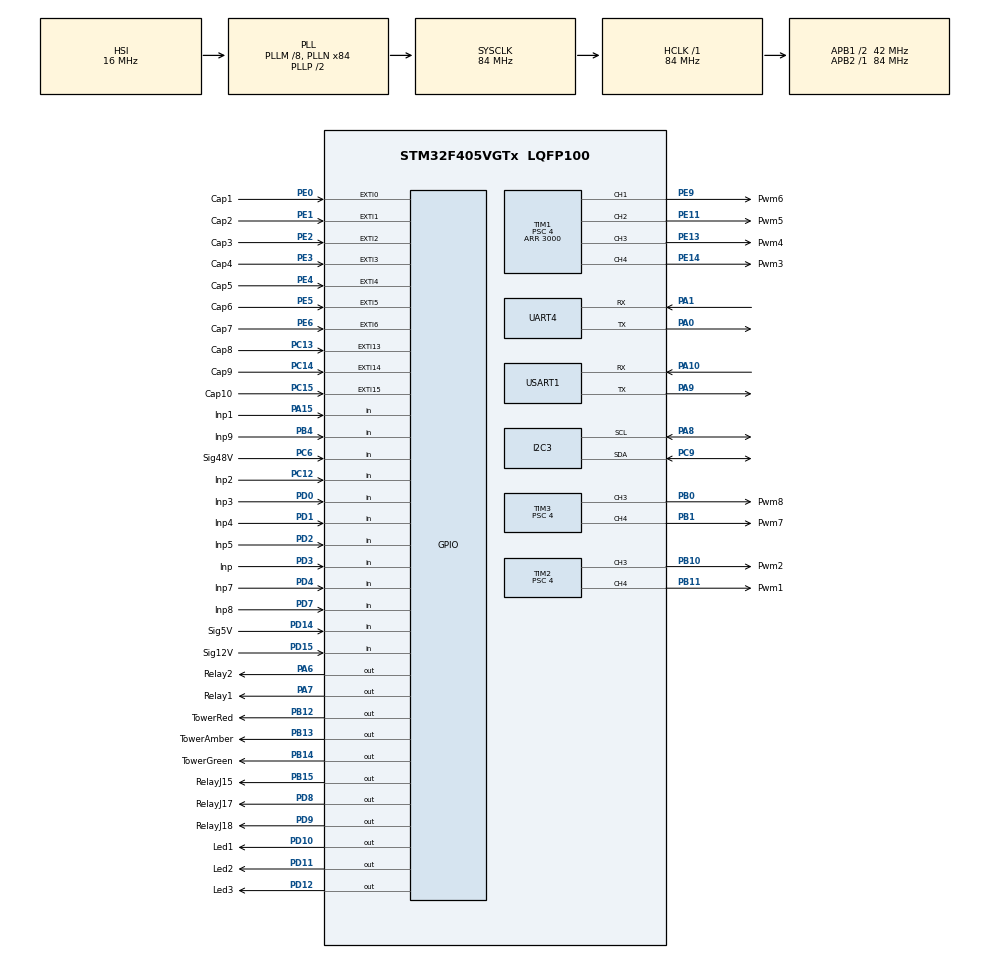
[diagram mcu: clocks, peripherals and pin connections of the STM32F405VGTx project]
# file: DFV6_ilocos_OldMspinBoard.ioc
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Mcu.Family=STM32F4
Mcu.Name=STM32F405VGTx
Mcu.Package=LQFP100
NVIC.EXTI0_IRQn=true\:0\:0\:false\:false\:true\:true\:true\:true
NVIC.EXTI15_10_IRQn=true\:0\:0\:false\:false\:true\:true\:true\:true
NVIC.EXTI1_IRQn=true\:0\:0\:false\:false\:true\:true\:true\:true
NVIC.EXTI2_IRQn=true\:0\:0\:false\:false\:true\:true\:true\:true
NVIC.EXTI3_IRQn=true\:0\:0\:false\:false\:true\:true\:true\:true
NVIC.EXTI4_IRQn=true\:0\:0\:false\:false\:true\:true\:true\:true
NVIC.EXTI9_5_IRQn=true\:0\:0\:false\:false\:true\:true\:true\:true
NVIC.PriorityGroup=NVIC_PRIORITYGROUP_4
NVIC.TIM1_BRK_TIM9_IRQn=true\:0\:0\:false\:false\:true\:true\:true\:true
NVIC.TIM6_DAC_IRQn=true\:0\:0\:false\:false\:true\:true\:true\:true
NVIC.TIM7_IRQn=true\:0\:0\:false\:false\:true\:true\:true\:true
NVIC.UART4_IRQn=true\:0\:0\:false\:false\:true\:true\:true\:true
NVIC.USART1_IRQn=true\:0\:0\:false\:false\:true\:true\:true\:true
PA0-WKUP.Mode=Asynchronous
PA0-WKUP.Signal=UART4_TX
PA1.Mode=Asynchronous
PA1.Signal=UART4_RX
PA10.Mode=Asynchronous
PA10.Signal=USART1_RX
PA15.GPIO_Label=Inp1
PA15.Signal=GPIO_Input
PA6.GPIO_Label=Relay2
PA6.Signal=GPIO_Output
PA7.GPIO_Label=Relay1
PA7.Signal=GPIO_Output
PA8.GPIO_Pu=GPIO_PULLUP
PA8.Mode=I2C
PA8.Signal=I2C3_SCL
PA9.Mode=Asynchronous
PA9.Signal=USART1_TX
PB0.GPIO_Label=Pwm8
PB0.Signal=S_TIM3_CH3
PB1.GPIO_Label=Pwm7
PB1.Signal=S_TIM3_CH4
PB10.GPIO_Label=Pwm2
PB10.Signal=S_TIM2_CH3
PB11.GPIO_Label=Pwm1
PB11.Signal=S_TIM2_CH4
PB12.GPIO_Label=TowerRed
PB12.Signal=GPIO_Output
PB13.GPIO_Label=TowerAmber
PB13.Signal=GPIO_Output
PB14.GPIO_Label=TowerGreen
PB14.Signal=GPIO_Output
PB15.GPIO_Label=RelayJ15
PB15.Signal=GPIO_Output
PB4.GPIO_Label=Inp9
PB4.Signal=GPIO_Input
PC12.GPIO_Label=Inp2
PC12.Signal=GPIO_Input
PC13-ANTI_TAMP.GPIO_Label=Cap8
PC13-ANTI_TAMP.GPIO_ModeDefaultEXTI=GPIO_MODE_IT_RISING_FALLING
PC13-ANTI_TAMP.GPIO_PuPd=GPIO_PULLUP
PC13-ANTI_TAMP.Signal=GPXTI13
PC14-OSC32_IN.GPIO_Label=Cap9
PC14-OSC32_IN.GPIO_ModeDefaultEXTI=GPIO_MODE_IT_RISING_FALLING
PC14-OSC32_IN.GPIO_PuPd=GPIO_PULLUP
PC14-OSC32_IN.Signal=GPXTI14
PC15-OSC32_OUT.GPIO_Label=Cap10
PC15-OSC32_OUT.GPIO_ModeDefaultEXTI=GPIO_MODE_IT_RISING_FALLING
PC15-OSC32_OUT.GPIO_PuPd=GPIO_PULLUP
PC15-OSC32_OUT.Signal=GPXTI15
PC6.GPIO_Label=Sig48V
PC6.Signal=GPIO_Input
PC9.GPIO_Pu=GPIO_PULLUP
PC9.Mode=I2C
PC9.Signal=I2C3_SDA
PD0.GPIO_Label=Inp3
PD0.Signal=GPIO_Input
PD1.GPIO_Label=Inp4
PD1.Signal=GPIO_Input
PD10.GPIO_Label=Led1
PD10.Signal=GPIO_Output
PD11.GPIO_Label=Led2
PD11.Signal=GPIO_Output
PD12.GPIO_Label=Led3
PD12.Signal=GPIO_Output
PD14.GPIO_Label=Sig5V
PD14.Signal=GPIO_Input
PD15.GPIO_Label=Sig12V
PD15.Signal=GPIO_Input
PD2.GPIO_Label=Inp5
PD2.Signal=GPIO_Input
PD3.GPIO_Label=Inp
PD3.Signal=GPIO_Input
PD4.GPIO_Label=Inp7
PD4.Signal=GPIO_Input
PD7.GPIO_Label=Inp8
PD7.Signal=GPIO_Input
PD8.GPIO_Label=RelayJ17
PD8.Signal=GPIO_Output
PD9.GPIO_Label=RelayJ18
PD9.Signal=GPIO_Output
PE0.GPIO_Label=Cap1
PE0.GPIO_ModeDefaultEXTI=GPIO_MODE_IT_RISING_FALLING
PE0.GPIO_PuPd=GPIO_PULLUP
PE0.Signal=GPXTI0
PE1.GPIO_Label=Cap2
PE1.GPIO_ModeDefaultEXTI=GPIO_MODE_IT_RISING_FALLING
PE1.GPIO_PuPd=GPIO_PULLUP
PE1.Signal=GPXTI1
PE11.GPIO_Label=Pwm5
PE11.Signal=S_TIM1_CH2
PE13.GPIO_Label=Pwm4
PE13.Signal=S_TIM1_CH3
PE14.GPIO_Label=Pwm3
PE14.Signal=S_TIM1_CH4
PE2.GPIO_Label=Cap3
PE2.GPIO_ModeDefaultEXTI=GPIO_MODE_IT_RISING_FALLING
PE2.GPIO_PuPd=GPIO_PULLUP
PE2.Signal=GPXTI2
PE3.GPIO_Label=Cap4
PE3.GPIO_ModeDefaultEXTI=GPIO_MODE_IT_RISING_FALLING
PE3.GPIO_PuPd=GPIO_PULLUP
PE3.Signal=GPXTI3
PE4.GPIO_Label=Cap5
PE4.GPIO_ModeDefaultEXTI=GPIO_MODE_IT_RISING_FALLING
PE4.GPIO_PuPd=GPIO_PULLUP
PE4.Signal=GPXTI4
PE5.GPIO_Label=Cap6
PE5.GPIO_ModeDefaultEXTI=GPIO_MODE_IT_RISING_FALLING
PE5.GPIO_PuPd=GPIO_PULLUP
PE5.Signal=GPXTI5
PE6.GPIO_Label=Cap7
PE6.GPIO_ModeDefaultEXTI=GPIO_MODE_IT_RISING_FALLING
PE6.GPIO_PuPd=GPIO_PULLUP
PE6.Signal=GPXTI6
PE9.GPIO_Label=Pwm6
PE9.Signal=S_TIM1_CH1
ProjectManager.HeapSize=0x200
ProjectManager.StackSize=0x400
ProjectManager.TargetToolchain=STM32CubeIDE
RCC.48MHZClocksFreq_Value=42000000
RCC.AHBFreq_Value=84000000
RCC.APB1CLKDivider=RCC_HCLK_DIV2
RCC.APB1Freq_Value=42000000
RCC.APB1TimFreq_Value=84000000
RCC.APB2Freq_Value=84000000
RCC.APB2TimFreq_Value=84000000
RCC.CortexFreq_Value=84000000
RCC.HCLKFreq_Value=84000000
RCC.HSE_VALUE=25000000
RCC.HSI_VALUE=16000000
RCC.LSE_VALUE=32768
RCC.PLLM=8
RCC.PLLN=84
RCC.SYSCLKFreq_VALUE=84000000
RCC.SYSCLKSource=RCC_SYSCLKSOURCE_PLLCLK
RCC.VCOOutputFreq_Value=168000000
SH.S_TIM1_CH1.0=TIM1_CH1,PWM Generation1 CH1
SH.S_TIM1_CH2.0=TIM1_CH2,PWM Generation2 CH2
SH.S_TIM1_CH3.0=TIM1_CH3,PWM Generation3 CH3
SH.S_TIM1_CH4.0=TIM1_CH4,PWM Generation4 CH4
SH.S_TIM2_CH3.0=TIM2_CH3,PWM Generation3 CH3
SH.S_TIM2_CH4.0=TIM2_CH4,PWM Generation4 CH4
SH.S_TIM3_CH3.0=TIM3_CH3,PWM Generation3 CH3
SH.S_TIM3_CH4.0=TIM3_CH4,PWM Generation4 CH4
TIM1.Channel-PWM\ Generation1\ CH1=TIM_CHANNEL_1
TIM1.Channel-PWM\ Generation2\ CH2=TIM_CHANNEL_2
TIM1.Channel-PWM\ Generation3\ CH3=TIM_CHANNEL_3
TIM1.Channel-PWM\ Generation4\ CH4=TIM_CHANNEL_4
TIM1.OCPolarity_1=TIM_OCPOLARITY_HIGH
TIM1.OCPolarity_2=TIM_OCPOLARITY_HIGH
TIM1.OCPolarity_3=TIM_OCPOLARITY_HIGH
TIM1.OCPolarity_4=TIM_OCPOLARITY_HIGH
TIM1.Period=3000
TIM1.Prescaler=4
TIM2.Channel-PWM\ Generation3\ CH3=TIM_CHANNEL_3
TIM2.Channel-PWM\ Generation4\ CH4=TIM_CHANNEL_4
TIM2.OCPolarity_3=TIM_OCPOLARITY_HIGH
TIM2.OCPolarity_4=TIM_OCPOLARITY_HIGH
TIM2.Period=3000
TIM2.Prescaler=4
TIM3.Channel-PWM\ Generation3\ CH3=TIM_CHANNEL_3
TIM3.Channel-PWM\ Generation4\ CH4=TIM_CHANNEL_4
TIM3.OCPolarity_3=TIM_OCPOLARITY_HIGH
TIM3.OCPolarity_4=TIM_OCPOLARITY_HIGH
TIM3.Period=3000
TIM3.Prescaler=4
TIM6.Period=839
TIM6.Prescaler=9999
TIM7.Period=8399
TIM7.Prescaler=9999
TIM9.Period=499
TIM9.Prescaler=8399
UART4.VirtualMode=Asynchronous
USART1.VirtualMode=VM_ASYNC
VP_TIM6_VS_ClockSourceINT.Mode=Enable_Timer
VP_TIM7_VS_ClockSourceINT.Mode=Enable_Timer
VP_TIM9_VS_ClockSourceINT.Mode=Internal
board=DRAWFRAME1.0

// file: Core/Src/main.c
/* USER CODE BEGIN Header */
/**
  ******************************************************************************
  * @file           : main.c
  * @brief          : Main program body
  ******************************************************************************
  * @attention
  *
  * Copyright (c) 2023 STMicroelectronics.
  * All rights reserved.
  *
  * This software is licensed under terms that can be found in the LICENSE file
  * in the root directory of this software component.
  * If no LICENSE file comes with this software, it is provided AS-IS.
  *
  ******************************************************************************
  */
/* USER CODE END Header */
#include "main.h"

/* USER CODE BEGIN Includes */
#include "Structs.h"
#include "Initialize.h"
#include "CommonConstants.h"
#include "HMI_Fns.h"
#include "HMI_Constants.h"
#include "StateFns.h"
#include "logicDefines.h"
#include "encoder.h"
#include "functionDefines.h"
#include "eeprom.h"
#include "Logger.h"

/* USER CODE END Includes */

I2C_HandleTypeDef hi2c3;

TIM_HandleTypeDef htim1;
TIM_HandleTypeDef htim2;
TIM_HandleTypeDef htim3;
TIM_HandleTypeDef htim6;
TIM_HandleTypeDef htim7;
TIM_HandleTypeDef htim9;

UART_HandleTypeDef huart4;
UART_HandleTypeDef huart1;

/* USER CODE BEGIN PV */
/* Private variables ---------------------------------------------------------*/
struct State S;
struct Uart U;
struct DrawFrameSettings dsp;
struct Diagnostics D;
// HMI STRUCTS
struct HMI_InfoBase hsb;
struct HMI_RunPacket hrp;
struct HMI_StopPacket hsp;
struct HMI_DiagPacket hdp;

//LOGIC
struct Motor M[4];
struct Error E;
struct PIDUpdate P;
struct DF_StartStopSettings DFs;
//Buffers
char BufferRec [MAX_PACKET_SIZE_FROM_HMI];//BUFFER  FOR RECEIVE
char BufferTransmit[130] ;// Buffer for Transmit
//Array for Motor NAMES
char MOTORARRAY[4] = {0,DF_FRONTROLLER,DF_BACK_ROLLER,DF_CREEL}; // Motor  not used
char MOTORARRAY_HMI[4] = {0,HMI_DF_FRONTROLLER,HMI_DF_BACK_ROLLER,HMI_DF_CREEL};

//FOR STORING THESE ADDRESSES IN THE EEPROM
const int EEPROM_KP_ADDRESSES[4] = {EXTRA,FRONTROLLER_KP,BACKROLLER_KP,CREEL_KP};
const int EEPROM_KI_ADDRESSES[4] = {EXTRA,FRONTROLLER_KI,BACKROLLER_KI,CREEL_KI};
const int EEPROM_START_OFFSET_ADDRESSES[4] = {EXTRA,FRONTROLLER_START_OFFSET,BACKROLLER_START_OFFSET,CREEL_START_OFFSET};
const int EEPROM_FEEDFORWARD_ADDRESSES[4] = {EXTRA,FRONTROLLER_FF_MLTPLR,BACKROLLER_FF_MLTPLR,CREEL_FF_MLTPLR};

//logic variables for diag
extern unsigned int idxMotor_diag;
extern long diag_pwm;
extern int testMode;

//variables for rpm calc
int allMotorsOn = 0; // 0 nothing on,1 all motors on
int keyPress = 0;
int startFlag = 0;
int buttonTimer = 0;
int startTimer = 0;

//production
float totalProduction  = 0.001f;
float totalProduction_dt = 0;
float actualDeliverySpeed = 0.0f;
extern int logCounter;
//settings check
int settingsEepromCheck = 0;
int PIDsettingsEepromCheck  = 0;
int DF_settingsCheck = 0;

int FR_RPM = 0;
extern char out[100];
/* USER CODE END PV */

void SystemClock_Config(void);
static void MX_GPIO_Init(void);
static void MX_TIM1_Init(void);
static void MX_TIM2_Init(void);
static void MX_TIM3_Init(void);
static void MX_TIM6_Init(void);
static void MX_UART4_Init(void);
static void MX_USART1_UART_Init(void);
static void MX_TIM7_Init(void);
static void MX_I2C3_Init(void);
static void MX_TIM9_Init(void);

/* USER CODE BEGIN 0 */

//MAIN TIMER LOOP
void HAL_TIM_PeriodElapsedCallback(TIM_HandleTypeDef *htim)
{
	// A 1 sec TIMER
	if (htim->Instance==TIM7){ //check if the interrupt comes from TIM7
		LedToggle(LED3);
		U.TXtransfer = 1;
		S.oneSecTimer += 1;
		buttonTimer += 1;
	}

   //run FR and BR at 50ms. give generous FF during rampup and down. then do the rest with PI.
	if (htim->Instance==TIM9){ // 50ms timer
		// will log in Diag and Run
		if (S.loggingEnabled){ 	//log Motor running only in Run and Diag.but settings can be logged in idle(1 time)
			if (S.logType == 2){
				//LogMotorVariables();
				S.logNow = 1;
				logCounter ++;
				}
			if (S.logType == 1){
				LogPIDVals();
				logCounter = 0;
				S.logType = 2;
			}
			if (S.logType == 0){
				LogSettings();
				S.logType = 1;
			}
		}//closes if test Mode
	}

   if (htim->Instance==TIM6){ // is a 100ms timer
	   LedToggle(LED1);
	   UpdateRPM();
	   if (testMode == 1){
		   if (D.typeofTest == HMI_DIAG_CLOSED_LOOP){
			   updateTargets(idxMotor_diag, 1);
			   followTargets(idxMotor_diag);
			   ApplyPwms();
			   }
		   if (D.typeofTest == HMI_DIAG_OPEN_LOOP){
			   UpdateMotorVoltageDiag(idxMotor_diag,diag_pwm);
			   ApplyPwms();
		   }
	   }

	   if(allMotorsOn == 1){
		   LedToggle(LED3);
		   FR_RPM = getRPM(MOTOR1);
		   actualDeliverySpeed = 0.126 * FR_RPM ;//in m/min;
		   if(startFlag == 1){
			   M[MOTOR1].rampRpm = DFs.rampUp;
			   updateTargets(MOTOR1, 1);
			   M[MOTOR2].intTarget = getBR_target(M[MOTOR1].intTarget); // TOCHK
			   M[MOTOR3].intTarget = getCreel_target();
			   followTargets(MOTOR1);
			   followTargets(MOTOR2);
			   followTargets(MOTOR3);
			}
		   if(startFlag == 0){
			   M[MOTOR1].rampRpm = DFs.rampDown;
			   updateTargets(MOTOR1, 0);
			   M[MOTOR2].intTarget = getBR_target(M[MOTOR1].intTarget);
			   M[MOTOR3].intTarget = getCreel_target();
			   followTargets(MOTOR1);
			   followTargets(MOTOR2);
			   followTargets(MOTOR3);
			   if(M[MOTOR1].intTarget <= 50){
				   M[MOTOR1].setRpm = 0;
				   M[MOTOR2].setRpm = 0;
				   M[MOTOR3].setRpm = 0;
				   M[MOTOR1].pwm = 0;
				   M[MOTOR2].pwm = 0;
				   M[MOTOR3].pwm = 0;
				   startTimer = 0;
				   allMotorsOn = 0;
				}
			}
			// while all motorsOn == 1
			totalProduction_dt = (dsp.deliverySpeed * 0.10f)/60.0f;	 //production in 100ms
			totalProduction = totalProduction + totalProduction_dt;
			ApplyPwms();
		} // CLOSES ALL MOTORS ON
	} //CLOSES TIMER  INT
} // CLOSES PERIOD ELAPSED CALLBACK

/* USER CODE END 0 */

int main(void)
{

  /* MCU Configuration--------------------------------------------------------*/

  /* Reset of all peripherals, Initializes the Flash interface and the Systick. */
  HAL_Init();

  /* Configure the system clock */
  SystemClock_Config();

  /* Initialize all configured peripherals */
  MX_GPIO_Init();
  MX_TIM1_Init();
  MX_TIM2_Init();
  MX_TIM3_Init();
  MX_TIM6_Init();
  MX_UART4_Init();
  MX_USART1_UART_Init();
  MX_TIM7_Init();
  MX_I2C3_Init();
  MX_TIM9_Init();
  /* USER CODE BEGIN 2 */
  InitializeStateStruct(); // sets state to idle and paired =0
  InitializeDrawFrameSettings();
  ReadDrawFrameSettingsFromEeprom(); //UpdateDrawFrameSettings from EEPROM
  settingsEepromCheck = CheckSettingsReadings();
  if (settingsEepromCheck == 0){
	//set some flag here, and send msg when you send settings..
	LoadFactoryDefaultSettings();
  }
  //Initialize the HMI Structs
  Create_HMI_BasePacket();
  Create_HMI_Run_Packet();
  Create_HMI_StopPacket();
  Create_HMI_DiagPacket();

  //Init the Motor Struct
  MotorStructInit();

  ReadAllPIDSettingsFromEeprom();
  PIDsettingsEepromCheck = CheckPIDSettings();
  if (PIDsettingsEepromCheck == 0){
	WriteDefaultPIDSettingsIntoEepromAndStruct();
  }
  ResetStartOffsetVars(); // move startOffsetOrig into StartOffset

  //*********************************//
  ReadDF_StartStopSettingsFromEeprom();
  DF_settingsCheck = CheckDF_StartStop_Settings();
  if (DF_settingsCheck == 0 ) {
	WriteDefaultDFStartStopSettingsIntoEepromAndStruct();
  }

  //Interrupts on HMI UART- UART1
  __HAL_UART_ENABLE_IT(&huart1,UART_IT_IDLE);//interrupt on receive buffer not empty(buffer full)
  __HAL_UART_ENABLE_IT(&huart1,UART_IT_TC );//interrupt on Transmission Complete
  HAL_UART_Receive_IT(&huart1,(uint8_t *)BufferRec,MAX_PACKET_SIZE_FROM_HMI);	 // start the receive here.

  HAL_TIM_Base_Start_IT(&htim6); // MAIN TIMER FOR MOTOR CONTROL PWM - 50ms
  // Switch on all the timers for the PWM , and set them low immediately
  AllTimerOn();
  AllSignalVoltageLow();

  //Switch off all tower lamps
  TowerLamp(GREEN_ON);
  TowerLamp(RED_ON);
  TowerLamp(AMBER_OFF);
  HAL_TIM_Base_Start_IT(&htim7);
  HAL_TIM_Base_Start_IT(&htim9);
  /* USER CODE END 2 */

  /* Infinite loop */
  /* USER CODE BEGIN WHILE */
  while (1){
	if (S.current_state == IDLE_STATE){
		IdleState();
	}

	if (S.current_state == RUN_STATE){
		RunState();
	}

	if (S.current_state == HALT_STATE){
		HaltState();
	}

	if (S.current_state == PAUSE_STATE){
		PauseState();
	}

	if (S.current_state == UPDATESETTINGS){
		SettingsState();
	}

	if (S.current_state == DIAGNOSTIC_STATE){
		DiagnosticsState();
	}

    /* USER CODE END WHILE */

  }
}

void SystemClock_Config(void)
{
  RCC_OscInitTypeDef RCC_OscInitStruct = {0};
  RCC_ClkInitTypeDef RCC_ClkInitStruct = {0};

  /** Configure the main internal regulator output voltage
  */
  __HAL_RCC_PWR_CLK_ENABLE();
  __HAL_PWR_VOLTAGESCALING_CONFIG(PWR_REGULATOR_VOLTAGE_SCALE1);

  /** Initializes the RCC Oscillators according to the specified parameters
  * in the RCC_OscInitTypeDef structure.
  */
  RCC_OscInitStruct.OscillatorType = RCC_OSCILLATORTYPE_HSI;
  RCC_OscInitStruct.HSIState = RCC_HSI_ON;
  RCC_OscInitStruct.HSICalibrationValue = RCC_HSICALIBRATION_DEFAULT;
  RCC_OscInitStruct.PLL.PLLState = RCC_PLL_ON;
  RCC_OscInitStruct.PLL.PLLSource = RCC_PLLSOURCE_HSI;
  RCC_OscInitStruct.PLL.PLLM = 8;
  RCC_OscInitStruct.PLL.PLLN = 84;
  RCC_OscInitStruct.PLL.PLLP = RCC_PLLP_DIV2;
  RCC_OscInitStruct.PLL.PLLQ = 4;
  if (HAL_RCC_OscConfig(&RCC_OscInitStruct) != HAL_OK)
  {
    Error_Handler();
  }

  /** Initializes the CPU, AHB and APB buses clocks
  */
  RCC_ClkInitStruct.ClockType = RCC_CLOCKTYPE_HCLK|RCC_CLOCKTYPE_SYSCLK
                              |RCC_CLOCKTYPE_PCLK1|RCC_CLOCKTYPE_PCLK2;
  RCC_ClkInitStruct.SYSCLKSource = RCC_SYSCLKSOURCE_PLLCLK;
  RCC_ClkInitStruct.AHBCLKDivider = RCC_SYSCLK_DIV1;
  RCC_ClkInitStruct.APB1CLKDivider = RCC_HCLK_DIV2;
  RCC_ClkInitStruct.APB2CLKDivider = RCC_HCLK_DIV1;

  if (HAL_RCC_ClockConfig(&RCC_ClkInitStruct, FLASH_LATENCY_2) != HAL_OK)
  {
    Error_Handler();
  }
}

static void MX_I2C3_Init(void)
{

  hi2c3.Instance = I2C3;
  hi2c3.Init.ClockSpeed = 100000;
  hi2c3.Init.DutyCycle = I2C_DUTYCYCLE_2;
  hi2c3.Init.OwnAddress1 = 0;
  hi2c3.Init.AddressingMode = I2C_ADDRESSINGMODE_7BIT;
  hi2c3.Init.DualAddressMode = I2C_DUALADDRESS_DISABLE;
  hi2c3.Init.OwnAddress2 = 0;
  hi2c3.Init.GeneralCallMode = I2C_GENERALCALL_DISABLE;
  hi2c3.Init.NoStretchMode = I2C_NOSTRETCH_DISABLE;
  if (HAL_I2C_Init(&hi2c3) != HAL_OK)
  {
    Error_Handler();
  }

}

static void MX_TIM1_Init(void)
{

  TIM_MasterConfigTypeDef sMasterConfig = {0};
  TIM_OC_InitTypeDef sConfigOC = {0};
  TIM_BreakDeadTimeConfigTypeDef sBreakDeadTimeConfig = {0};

  htim1.Instance = TIM1;
  htim1.Init.Prescaler = 4;
  htim1.Init.CounterMode = TIM_COUNTERMODE_UP;
  htim1.Init.Period = 3000;
  htim1.Init.ClockDivision = TIM_CLOCKDIVISION_DIV1;
  htim1.Init.RepetitionCounter = 0;
  htim1.Init.AutoReloadPreload = TIM_AUTORELOAD_PRELOAD_DISABLE;
  if (HAL_TIM_PWM_Init(&htim1) != HAL_OK)
  {
    Error_Handler();
  }
  sMasterConfig.MasterOutputTrigger = TIM_TRGO_RESET;
  sMasterConfig.MasterSlaveMode = TIM_MASTERSLAVEMODE_DISABLE;
  if (HAL_TIMEx_MasterConfigSynchronization(&htim1, &sMasterConfig) != HAL_OK)
  {
    Error_Handler();
  }
  sConfigOC.OCMode = TIM_OCMODE_PWM1;
  sConfigOC.Pulse = 0;
  sConfigOC.OCPolarity = TIM_OCPOLARITY_HIGH;
  sConfigOC.OCNPolarity = TIM_OCNPOLARITY_HIGH;
  sConfigOC.OCFastMode = TIM_OCFAST_DISABLE;
  sConfigOC.OCIdleState = TIM_OCIDLESTATE_RESET;
  sConfigOC.OCNIdleState = TIM_OCNIDLESTATE_RESET;
  if (HAL_TIM_PWM_ConfigChannel(&htim1, &sConfigOC, TIM_CHANNEL_1) != HAL_OK)
  {
    Error_Handler();
  }
  if (HAL_TIM_PWM_ConfigChannel(&htim1, &sConfigOC, TIM_CHANNEL_2) != HAL_OK)
  {
    Error_Handler();
  }
  if (HAL_TIM_PWM_ConfigChannel(&htim1, &sConfigOC, TIM_CHANNEL_3) != HAL_OK)
  {
    Error_Handler();
  }
  if (HAL_TIM_PWM_ConfigChannel(&htim1, &sConfigOC, TIM_CHANNEL_4) != HAL_OK)
  {
    Error_Handler();
  }
  sBreakDeadTimeConfig.OffStateRunMode = TIM_OSSR_DISABLE;
  sBreakDeadTimeConfig.OffStateIDLEMode = TIM_OSSI_DISABLE;
  sBreakDeadTimeConfig.LockLevel = TIM_LOCKLEVEL_OFF;
  sBreakDeadTimeConfig.DeadTime = 0;
  sBreakDeadTimeConfig.BreakState = TIM_BREAK_DISABLE;
  sBreakDeadTimeConfig.BreakPolarity = TIM_BREAKPOLARITY_HIGH;
  sBreakDeadTimeConfig.AutomaticOutput = TIM_AUTOMATICOUTPUT_DISABLE;
  if (HAL_TIMEx_ConfigBreakDeadTime(&htim1, &sBreakDeadTimeConfig) != HAL_OK)
  {
    Error_Handler();
  }
  HAL_TIM_MspPostInit(&htim1);

}

static void MX_TIM2_Init(void)
{

  TIM_MasterConfigTypeDef sMasterConfig = {0};
  TIM_OC_InitTypeDef sConfigOC = {0};

  htim2.Instance = TIM2;
  htim2.Init.Prescaler = 4;
  htim2.Init.CounterMode = TIM_COUNTERMODE_UP;
  htim2.Init.Period = 3000;
  htim2.Init.ClockDivision = TIM_CLOCKDIVISION_DIV1;
  htim2.Init.AutoReloadPreload = TIM_AUTORELOAD_PRELOAD_DISABLE;
  if (HAL_TIM_PWM_Init(&htim2) != HAL_OK)
  {
    Error_Handler();
  }
  sMasterConfig.MasterOutputTrigger = TIM_TRGO_RESET;
  sMasterConfig.MasterSlaveMode = TIM_MASTERSLAVEMODE_DISABLE;
  if (HAL_TIMEx_MasterConfigSynchronization(&htim2, &sMasterConfig) != HAL_OK)
  {
    Error_Handler();
  }
  sConfigOC.OCMode = TIM_OCMODE_PWM1;
  sConfigOC.Pulse = 0;
  sConfigOC.OCPolarity = TIM_OCPOLARITY_HIGH;
  sConfigOC.OCFastMode = TIM_OCFAST_DISABLE;
  if (HAL_TIM_PWM_ConfigChannel(&htim2, &sConfigOC, TIM_CHANNEL_3) != HAL_OK)
  {
    Error_Handler();
  }
  if (HAL_TIM_PWM_ConfigChannel(&htim2, &sConfigOC, TIM_CHANNEL_4) != HAL_OK)
  {
    Error_Handler();
  }
  HAL_TIM_MspPostInit(&htim2);

}

static void MX_TIM3_Init(void)
{

  TIM_MasterConfigTypeDef sMasterConfig = {0};
  TIM_OC_InitTypeDef sConfigOC = {0};

  htim3.Instance = TIM3;
  htim3.Init.Prescaler = 4;
  htim3.Init.CounterMode = TIM_COUNTERMODE_UP;
  htim3.Init.Period = 3000;
  htim3.Init.ClockDivision = TIM_CLOCKDIVISION_DIV1;
  htim3.Init.AutoReloadPreload = TIM_AUTORELOAD_PRELOAD_DISABLE;
  if (HAL_TIM_PWM_Init(&htim3) != HAL_OK)
  {
    Error_Handler();
  }
  sMasterConfig.MasterOutputTrigger = TIM_TRGO_RESET;
  sMasterConfig.MasterSlaveMode = TIM_MASTERSLAVEMODE_DISABLE;
  if (HAL_TIMEx_MasterConfigSynchronization(&htim3, &sMasterConfig) != HAL_OK)
  {
    Error_Handler();
  }
  sConfigOC.OCMode = TIM_OCMODE_PWM1;
  sConfigOC.Pulse = 0;
  sConfigOC.OCPolarity = TIM_OCPOLARITY_HIGH;
  sConfigOC.OCFastMode = TIM_OCFAST_DISABLE;
  if (HAL_TIM_PWM_ConfigChannel(&htim3, &sConfigOC, TIM_CHANNEL_3) != HAL_OK)
  {
    Error_Handler();
  }
  if (HAL_TIM_PWM_ConfigChannel(&htim3, &sConfigOC, TIM_CHANNEL_4) != HAL_OK)
  {
    Error_Handler();
  }
  HAL_TIM_MspPostInit(&htim3);

}

static void MX_TIM6_Init(void)
{

  TIM_MasterConfigTypeDef sMasterConfig = {0};

  htim6.Instance = TIM6;
  htim6.Init.Prescaler = 9999;
  htim6.Init.CounterMode = TIM_COUNTERMODE_UP;
  htim6.Init.Period = 839;
  htim6.Init.AutoReloadPreload = TIM_AUTORELOAD_PRELOAD_DISABLE;
  if (HAL_TIM_Base_Init(&htim6) != HAL_OK)
  {
    Error_Handler();
  }
  sMasterConfig.MasterOutputTrigger = TIM_TRGO_RESET;
  sMasterConfig.MasterSlaveMode = TIM_MASTERSLAVEMODE_DISABLE;
  if (HAL_TIMEx_MasterConfigSynchronization(&htim6, &sMasterConfig) != HAL_OK)
  {
    Error_Handler();
  }

}

static void MX_TIM7_Init(void)
{

  TIM_MasterConfigTypeDef sMasterConfig = {0};

  htim7.Instance = TIM7;
  htim7.Init.Prescaler = 9999;
  htim7.Init.CounterMode = TIM_COUNTERMODE_UP;
  htim7.Init.Period = 8399;
  htim7.Init.AutoReloadPreload = TIM_AUTORELOAD_PRELOAD_DISABLE;
  if (HAL_TIM_Base_Init(&htim7) != HAL_OK)
  {
    Error_Handler();
  }
  sMasterConfig.MasterOutputTrigger = TIM_TRGO_RESET;
  sMasterConfig.MasterSlaveMode = TIM_MASTERSLAVEMODE_DISABLE;
  if (HAL_TIMEx_MasterConfigSynchronization(&htim7, &sMasterConfig) != HAL_OK)
  {
    Error_Handler();
  }

}

static void MX_TIM9_Init(void)
{

  TIM_ClockConfigTypeDef sClockSourceConfig = {0};

  htim9.Instance = TIM9;
  htim9.Init.Prescaler = 8399;
  htim9.Init.CounterMode = TIM_COUNTERMODE_UP;
  htim9.Init.Period = 499;
  htim9.Init.ClockDivision = TIM_CLOCKDIVISION_DIV1;
  htim9.Init.AutoReloadPreload = TIM_AUTORELOAD_PRELOAD_DISABLE;
  if (HAL_TIM_Base_Init(&htim9) != HAL_OK)
  {
    Error_Handler();
  }
  sClockSourceConfig.ClockSource = TIM_CLOCKSOURCE_INTERNAL;
  if (HAL_TIM_ConfigClockSource(&htim9, &sClockSourceConfig) != HAL_OK)
  {
    Error_Handler();
  }

}

static void MX_UART4_Init(void)
{

  huart4.Instance = UART4;
  huart4.Init.BaudRate = 115200;
  huart4.Init.WordLength = UART_WORDLENGTH_8B;
  huart4.Init.StopBits = UART_STOPBITS_1;
  huart4.Init.Parity = UART_PARITY_NONE;
  huart4.Init.Mode = UART_MODE_TX_RX;
  huart4.Init.HwFlowCtl = UART_HWCONTROL_NONE;
  huart4.Init.OverSampling = UART_OVERSAMPLING_16;
  if (HAL_UART_Init(&huart4) != HAL_OK)
  {
    Error_Handler();
  }

}

static void MX_USART1_UART_Init(void)
{

  huart1.Instance = USART1;
  huart1.Init.BaudRate = 115200;
  huart1.Init.WordLength = UART_WORDLENGTH_8B;
  huart1.Init.StopBits = UART_STOPBITS_1;
  huart1.Init.Parity = UART_PARITY_NONE;
  huart1.Init.Mode = UART_MODE_TX_RX;
  huart1.Init.HwFlowCtl = UART_HWCONTROL_NONE;
  huart1.Init.OverSampling = UART_OVERSAMPLING_16;
  if (HAL_UART_Init(&huart1) != HAL_OK)
  {
    Error_Handler();
  }

}

static void MX_GPIO_Init(void)
{
  GPIO_InitTypeDef GPIO_InitStruct = {0};

  /* GPIO Ports Clock Enable */
  __HAL_RCC_GPIOE_CLK_ENABLE();
  __HAL_RCC_GPIOC_CLK_ENABLE();
  __HAL_RCC_GPIOA_CLK_ENABLE();
  __HAL_RCC_GPIOB_CLK_ENABLE();
  __HAL_RCC_GPIOD_CLK_ENABLE();

  /*Configure GPIO pin Output Level */
  HAL_GPIO_WritePin(GPIOA, Relay2_Pin|Relay1_Pin, GPIO_PIN_RESET);

  /*Configure GPIO pin Output Level */
  HAL_GPIO_WritePin(GPIOB, TowerRed_Pin|TowerAmber_Pin|TowerGreen_Pin|RelayJ15_Pin, GPIO_PIN_RESET);

  /*Configure GPIO pin Output Level */
  HAL_GPIO_WritePin(GPIOD, RelayJ17_Pin|RelayJ18_Pin|Led1_Pin|Led2_Pin
                          |Led3_Pin, GPIO_PIN_RESET);

  /*Configure GPIO pins : Cap3_Pin Cap4_Pin Cap5_Pin Cap6_Pin
                           Cap7_Pin Cap1_Pin Cap2_Pin */
  GPIO_InitStruct.Pin = Cap3_Pin|Cap4_Pin|Cap5_Pin|Cap6_Pin
                          |Cap7_Pin|Cap1_Pin|Cap2_Pin;
  GPIO_InitStruct.Mode = GPIO_MODE_IT_RISING_FALLING;
  GPIO_InitStruct.Pull = GPIO_PULLUP;
  HAL_GPIO_Init(GPIOE, &GPIO_InitStruct);

  /*Configure GPIO pins : Cap8_Pin Cap9_Pin Cap10_Pin */
  GPIO_InitStruct.Pin = Cap8_Pin|Cap9_Pin|Cap10_Pin;
  GPIO_InitStruct.Mode = GPIO_MODE_IT_RISING_FALLING;
  GPIO_InitStruct.Pull = GPIO_PULLUP;
  HAL_GPIO_Init(GPIOC, &GPIO_InitStruct);

  /*Configure GPIO pins : Relay2_Pin Relay1_Pin */
  GPIO_InitStruct.Pin = Relay2_Pin|Relay1_Pin;
  GPIO_InitStruct.Mode = GPIO_MODE_OUTPUT_PP;
  GPIO_InitStruct.Pull = GPIO_NOPULL;
  GPIO_InitStruct.Speed = GPIO_SPEED_FREQ_LOW;
  HAL_GPIO_Init(GPIOA, &GPIO_InitStruct);

  /*Configure GPIO pins : TowerRed_Pin TowerAmber_Pin TowerGreen_Pin RelayJ15_Pin */
  GPIO_InitStruct.Pin = TowerRed_Pin|TowerAmber_Pin|TowerGreen_Pin|RelayJ15_Pin;
  GPIO_InitStruct.Mode = GPIO_MODE_OUTPUT_PP;
  GPIO_InitStruct.Pull = GPIO_NOPULL;
  GPIO_InitStruct.Speed = GPIO_SPEED_FREQ_LOW;
  HAL_GPIO_Init(GPIOB, &GPIO_InitStruct);

  /*Configure GPIO pins : RelayJ17_Pin RelayJ18_Pin Led1_Pin Led2_Pin
                           Led3_Pin */
  GPIO_InitStruct.Pin = RelayJ17_Pin|RelayJ18_Pin|Led1_Pin|Led2_Pin
                          |Led3_Pin;
  GPIO_InitStruct.Mode = GPIO_MODE_OUTPUT_PP;
  GPIO_InitStruct.Pull = GPIO_NOPULL;
  GPIO_InitStruct.Speed = GPIO_SPEED_FREQ_LOW;
  HAL_GPIO_Init(GPIOD, &GPIO_InitStruct);

  /*Configure GPIO pins : Sig5V_Pin Sig12V_Pin Inp3_Pin Inp4_Pin
                           Inp5_Pin Inp_Pin Inp7_Pin Inp8_Pin */
  GPIO_InitStruct.Pin = Sig5V_Pin|Sig12V_Pin|Inp3_Pin|Inp4_Pin
                          |Inp5_Pin|Inp_Pin|Inp7_Pin|Inp8_Pin;
  GPIO_InitStruct.Mode = GPIO_MODE_INPUT;
  GPIO_InitStruct.Pull = GPIO_NOPULL;
  HAL_GPIO_Init(GPIOD, &GPIO_InitStruct);

  /*Configure GPIO pins : Sig48V_Pin Inp2_Pin */
  GPIO_InitStruct.Pin = Sig48V_Pin|Inp2_Pin;
  GPIO_InitStruct.Mode = GPIO_MODE_INPUT;
  GPIO_InitStruct.Pull = GPIO_NOPULL;
  HAL_GPIO_Init(GPIOC, &GPIO_InitStruct);

  /*Configure GPIO pin : Inp1_Pin */
  GPIO_InitStruct.Pin = Inp1_Pin;
  GPIO_InitStruct.Mode = GPIO_MODE_INPUT;
  GPIO_InitStruct.Pull = GPIO_NOPULL;
  HAL_GPIO_Init(Inp1_GPIO_Port, &GPIO_InitStruct);

  /*Configure GPIO pin : Inp9_Pin */
  GPIO_InitStruct.Pin = Inp9_Pin;
  GPIO_InitStruct.Mode = GPIO_MODE_INPUT;
  GPIO_InitStruct.Pull = GPIO_NOPULL;
  HAL_GPIO_Init(Inp9_GPIO_Port, &GPIO_InitStruct);

  /* EXTI interrupt init*/
  HAL_NVIC_SetPriority(EXTI0_IRQn, 0, 0);
  HAL_NVIC_EnableIRQ(EXTI0_IRQn);

  HAL_NVIC_SetPriority(EXTI1_IRQn, 0, 0);
  HAL_NVIC_EnableIRQ(EXTI1_IRQn);

  HAL_NVIC_SetPriority(EXTI2_IRQn, 0, 0);
  HAL_NVIC_EnableIRQ(EXTI2_IRQn);

  HAL_NVIC_SetPriority(EXTI3_IRQn, 0, 0);
  HAL_NVIC_EnableIRQ(EXTI3_IRQn);

  HAL_NVIC_SetPriority(EXTI4_IRQn, 0, 0);
  HAL_NVIC_EnableIRQ(EXTI4_IRQn);

  HAL_NVIC_SetPriority(EXTI9_5_IRQn, 0, 0);
  HAL_NVIC_EnableIRQ(EXTI9_5_IRQn);

  HAL_NVIC_SetPriority(EXTI15_10_IRQn, 0, 0);
  HAL_NVIC_EnableIRQ(EXTI15_10_IRQn);

}

void Error_Handler(void)
{
  __disable_irq();
  while (1)
  {
  }
}
